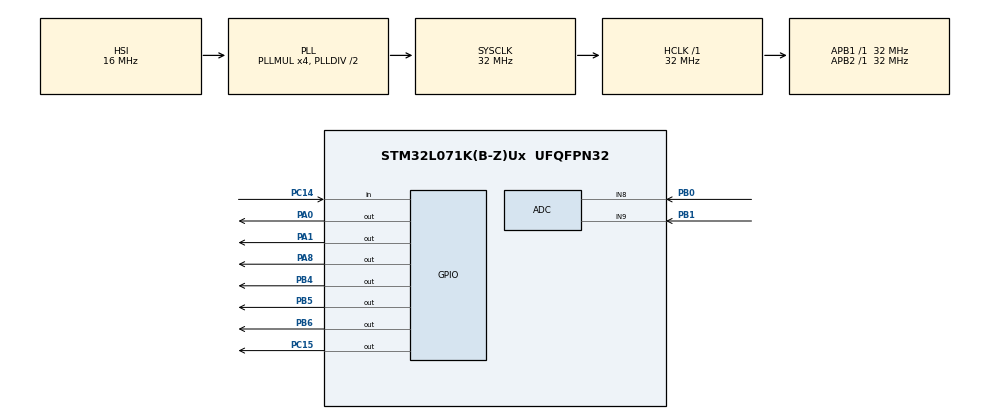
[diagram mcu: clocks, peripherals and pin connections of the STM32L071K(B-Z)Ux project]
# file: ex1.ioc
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ADC.DiscontinuousConvMode=ENABLE
Mcu.Family=STM32L0
Mcu.Name=STM32L071K(B-Z)Ux
Mcu.Package=UFQFPN32
NVIC.ADC1_COMP_IRQn=true\:0\:0\:false\:false\:true\:true\:true
NVIC.TIM6_IRQn=true\:0\:0\:false\:false\:true\:true\:true
NVIC.TIM7_IRQn=true\:0\:0\:false\:false\:true\:true\:true
PA0.Signal=GPIO_Output
PA1.Signal=GPIO_Output
PA13.Mode=Serial_Wire
PA13.Signal=SYS_SWDIO
PA14.Mode=Serial_Wire
PA14.Signal=SYS_SWCLK
PA8.Signal=GPIO_Output
PB0.Mode=IN8
PB0.Signal=ADC_IN8
PB1.Mode=IN9
PB1.Signal=ADC_IN9
PB4.Signal=GPIO_Output
PB5.Signal=GPIO_Output
PB6.Signal=GPIO_Output
PC14-OSC32_IN.GPIO_PuPd=GPIO_PULLUP
PC14-OSC32_IN.Signal=GPIO_Input
PC15-OSC32_OUT.Signal=GPIO_Output
ProjectManager.HeapSize=0x200
ProjectManager.StackSize=0x400
ProjectManager.TargetToolchain=MDK-ARM V5
RCC.AHBFreq_Value=32000000
RCC.APB1Freq_Value=32000000
RCC.APB1TimFreq_Value=32000000
RCC.APB2Freq_Value=32000000
RCC.APB2TimFreq_Value=32000000
RCC.HCLKFreq_Value=32000000
RCC.HSI16_VALUE=16000000
RCC.HSI_VALUE=16000000
RCC.LSE_VALUE=32768
RCC.MSI_VALUE=2097000
RCC.PLLMUL=RCC_PLLMUL_4
RCC.SYSCLKFreq_VALUE=32000000
RCC.SYSCLKSource=RCC_SYSCLKSOURCE_PLLCLK
RCC.VCOOutputFreq_Value=64000000
RTC.Format=RTC_FORMAT_BIN
RTC.SynchPrediv=307
TIM6.Period=999
TIM6.Prescaler=31
TIM7.Period=999
TIM7.Prescaler=31
VP_CRC_VS_CRC.Mode=CRC_Activate
VP_RTC_VS_RTC_Activate.Mode=RTC_Enabled
VP_RTC_VS_RTC_Calendar.Mode=RTC_Calendar
VP_TIM6_VS_ClockSourceINT.Mode=Enable_Timer
VP_TIM7_VS_ClockSourceINT.Mode=Enable_Timer
board=custom

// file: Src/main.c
/* USER CODE BEGIN Header */
/**
  ******************************************************************************
  * @file           : main.c
  * @brief          : Main program body
  ******************************************************************************
  * @attention
  *
  * <h2><center>&copy; Copyright (c) 2019 STMicroelectronics.
  * All rights reserved.</center></h2>
  *
  * This software component is licensed by ST under BSD 3-Clause license,
  * the "License"; You may not use this file except in compliance with the
  * License. You may obtain a copy of the License at:
  *                        opensource.org/licenses/BSD-3-Clause
  *
  ******************************************************************************
  */
/* USER CODE END Header */

#include "main.h"
#include "adc.h"
#include "crc.h"
#include "rtc.h"
#include "tim.h"
#include "gpio.h"

/* USER CODE BEGIN Includes */
#include "stm32l0xx_hal.h"
#include "zm4xx_gpio.h"
#include "spi.h"
#include "timer.h"
#include "stddef.h"
#include "sx127x_lora.h"
/* USER CODE END Includes */

/* USER CODE BEGIN PTD */
#define FREQ  (433000000)
void SystemClock_Config(void);
void Hardware_Init(void);
radio_handle_t  handle;
int ret = RADIO_RET_OK;
    uint16_t len = 0;
		uint8_t rx[50];
		uint8_t tx = 0x55;
		uint8_t cntr = 0;
unsigned char cmd_send[10]={0x14,0x02,0x35,0x69,0x41};
unsigned char cmd_send1[10]={0x14,0x02,0x35,0x69,0x41,0x0B,0x11};
unsigned char cmd_send2[10]={0x14,0x02,0x35,0x69,0x41,0x0B,0x12};
unsigned char cmd_send3[10]={0x14,0x02,0x35,0x69,0x41,0x0B,0x12};
unsigned char cmd_reply[10];
unsigned int time_i=0,time_10ms=1,time_100ms=1,time_2s=20;
float value[2];

/* USER CODE END PTD */

void SystemClock_Config(void);

/* USER CODE BEGIN 0 */
void Task_BrdInit(void)
{
    HAL_GPIO_WritePin(GPIOC, GPIO_PIN_15, GPIO_PIN_SET);

    OLED_PowerControl(ENABLE);

    HAL_Delay(200);
    OLED_Init();
    OLED_Clear();

    OLED_ShowString(0, 0, (unsigned char *)"                ", 16);
    OLED_ShowString(0, 2, (unsigned char *)"                ", 16);
}
void LoRa_Init(void)
{

	handle = radio_zm4xx_inst_init(spi_recv_byte,spi_send_byte,zm4xx_rst_pin_set,zm4xx_sel_pin_set,delay_ms,delay_us);

	if(handle != NULL){
		if(RADIO_RET_OK == radio_freq_set(handle, FREQ)){
				HAL_GPIO_WritePin(GPIOC, GPIO_PIN_15,GPIO_PIN_RESET);
		}

		radio_mode_set(handle, RX_MODE);	//Receive Mode
	}
}
unsigned int check(void);
void led(void);
/* USER CODE END 0 */

int main(void)
{
  /* USER CODE BEGIN 1 */
    char lcdLine_1st_line[16];
    char lcdLine_2st_line[16];
	unsigned int i;

  /* USER CODE END 1 */

  /* MCU Configuration--------------------------------------------------------*/

  /* Reset of all peripherals, Initializes the Flash interface and the Systick. */
  HAL_Init();

  /* Configure the system clock */
  SystemClock_Config();

  /* Initialize all configured peripherals */
  MX_GPIO_Init();
  MX_CRC_Init();
  MX_RTC_Init();
  MX_TIM6_Init();
  MX_TIM7_Init();
  MX_ADC_Init();
  /* USER CODE BEGIN 2 */
    Task_BrdInit();
		zm4xx_pin_init(); //LORA��Ҫ
    spi_init();//LORA��Ҫ
		LoRa_Init();
		HAL_TIM_Base_Start_IT(&htim6);
		HAL_TIM_Base_Start_IT(&htim7);
		sprintf(lcdLine_1st_line, "REC:None");
		sprintf(lcdLine_2st_line, "ADC:None");
  /* USER CODE END 2 */

  /* Infinite loop */
    while (1)
    {

    /* USER CODE BEGIN 3 */
			radio_mode_set(handle, RX_MODE);
			ret = radio_buf_recv(handle, rx, &len);
			i=5000;
			while(i--&&ret != RADIO_RET_OK)
				ret = radio_buf_recv(handle, rx, &len);
			if(ret == RADIO_RET_OK)
			{
				if(check()==1)
				{
					if(rx[5]==0xa0&&rx[6]==0x01)
					{
						HAL_GPIO_TogglePin(GPIOC, GPIO_PIN_15);
						sprintf(lcdLine_1st_line, "REC:OK");
						sprintf(lcdLine_2st_line, "ADC:%.1f V",value[1]);
						led();
						time_2s=0;
						i=5;
						while(i--)
							radio_buf_send(handle, cmd_send, sizeof(cmd_send));
					}
				}
			}
			if(time_2s>20)
			{
				sprintf(lcdLine_1st_line, "REC:None");
				sprintf(lcdLine_2st_line, "ADC:None");
			}
			if(time_100ms==1)
			{
				for(i=0;i<=1;i++)
				{
					HAL_ADC_Start(&hadc);
					HAL_ADC_PollForConversion(&hadc,100);
					value[i]=HAL_ADC_GetValue(&hadc)*3.3/4095;
				}
				OLED_ShowString(0, 0, (unsigned char *)lcdLine_1st_line, 16);
				OLED_ShowString(0, 2, (unsigned char *)lcdLine_2st_line, 16);
			}
    }
  /* USER CODE END 3 */
}
/* USER CODE BEGIN 4 */
unsigned int check()
{
	unsigned int i,num=0;
	for(i=0;i<=4;i++)
	{
		if(rx[i]==cmd_send[i])
			num++;
		else ;
	}
	if(num==5)
		return 1;
	else
		return 0;
}
void led()
{
	if(value[1]<1.5)
	{
		cmd_send[5]=0x0B;
		cmd_send[6]=0x11;
	}
	if(value[1]>=1.5&&value[0]<2.5)
	{
		cmd_send[5]=0x0B;
		cmd_send[6]=0x12;
	}
	if(value[1]>=2.5)
	{
		cmd_send[5]=0x0B;
		cmd_send[6]=0x13;
	}
}
void HAL_TIM_PeriodElapsedCallback(TIM_HandleTypeDef *htim)
{
	 if(htim->Instance==TIM6)
	 {
			time_i++;
			if(time_i==9999)		time_i=0;
			if(time_i%10==0)		time_10ms=!time_10ms;
			if(time_i%100==0)
			{
				time_100ms=!time_100ms;
				time_2s++;
			}
	 }
}
/* USER CODE END 4 */
void SystemClock_Config(void)
{
  RCC_OscInitTypeDef RCC_OscInitStruct = {0};
  RCC_ClkInitTypeDef RCC_ClkInitStruct = {0};
  RCC_PeriphCLKInitTypeDef PeriphClkInit = {0};

  /** Configure the main internal regulator output voltage
  */
  __HAL_PWR_VOLTAGESCALING_CONFIG(PWR_REGULATOR_VOLTAGE_SCALE1);
  /** Initializes the CPU, AHB and APB busses clocks
  */
  RCC_OscInitStruct.OscillatorType = RCC_OSCILLATORTYPE_HSI|RCC_OSCILLATORTYPE_LSI;
  RCC_OscInitStruct.HSIState = RCC_HSI_ON;
  RCC_OscInitStruct.HSICalibrationValue = RCC_HSICALIBRATION_DEFAULT;
  RCC_OscInitStruct.LSIState = RCC_LSI_ON;
  RCC_OscInitStruct.PLL.PLLState = RCC_PLL_ON;
  RCC_OscInitStruct.PLL.PLLSource = RCC_PLLSOURCE_HSI;
  RCC_OscInitStruct.PLL.PLLMUL = RCC_PLLMUL_4;
  RCC_OscInitStruct.PLL.PLLDIV = RCC_PLLDIV_2;
  if (HAL_RCC_OscConfig(&RCC_OscInitStruct) != HAL_OK)
  {
    Error_Handler();
  }
  /** Initializes the CPU, AHB and APB busses clocks
  */
  RCC_ClkInitStruct.ClockType = RCC_CLOCKTYPE_HCLK|RCC_CLOCKTYPE_SYSCLK
                              |RCC_CLOCKTYPE_PCLK1|RCC_CLOCKTYPE_PCLK2;
  RCC_ClkInitStruct.SYSCLKSource = RCC_SYSCLKSOURCE_PLLCLK;
  RCC_ClkInitStruct.AHBCLKDivider = RCC_SYSCLK_DIV1;
  RCC_ClkInitStruct.APB1CLKDivider = RCC_HCLK_DIV1;
  RCC_ClkInitStruct.APB2CLKDivider = RCC_HCLK_DIV1;

  if (HAL_RCC_ClockConfig(&RCC_ClkInitStruct, FLASH_LATENCY_1) != HAL_OK)
  {
    Error_Handler();
  }
  PeriphClkInit.PeriphClockSelection = RCC_PERIPHCLK_RTC;
  PeriphClkInit.RTCClockSelection = RCC_RTCCLKSOURCE_LSI;
  if (HAL_RCCEx_PeriphCLKConfig(&PeriphClkInit) != HAL_OK)
  {
    Error_Handler();
  }
}

void Error_Handler(void)
{
}

/************************ (C) COPYRIGHT STMicroelectronics *****END OF FILE****/
